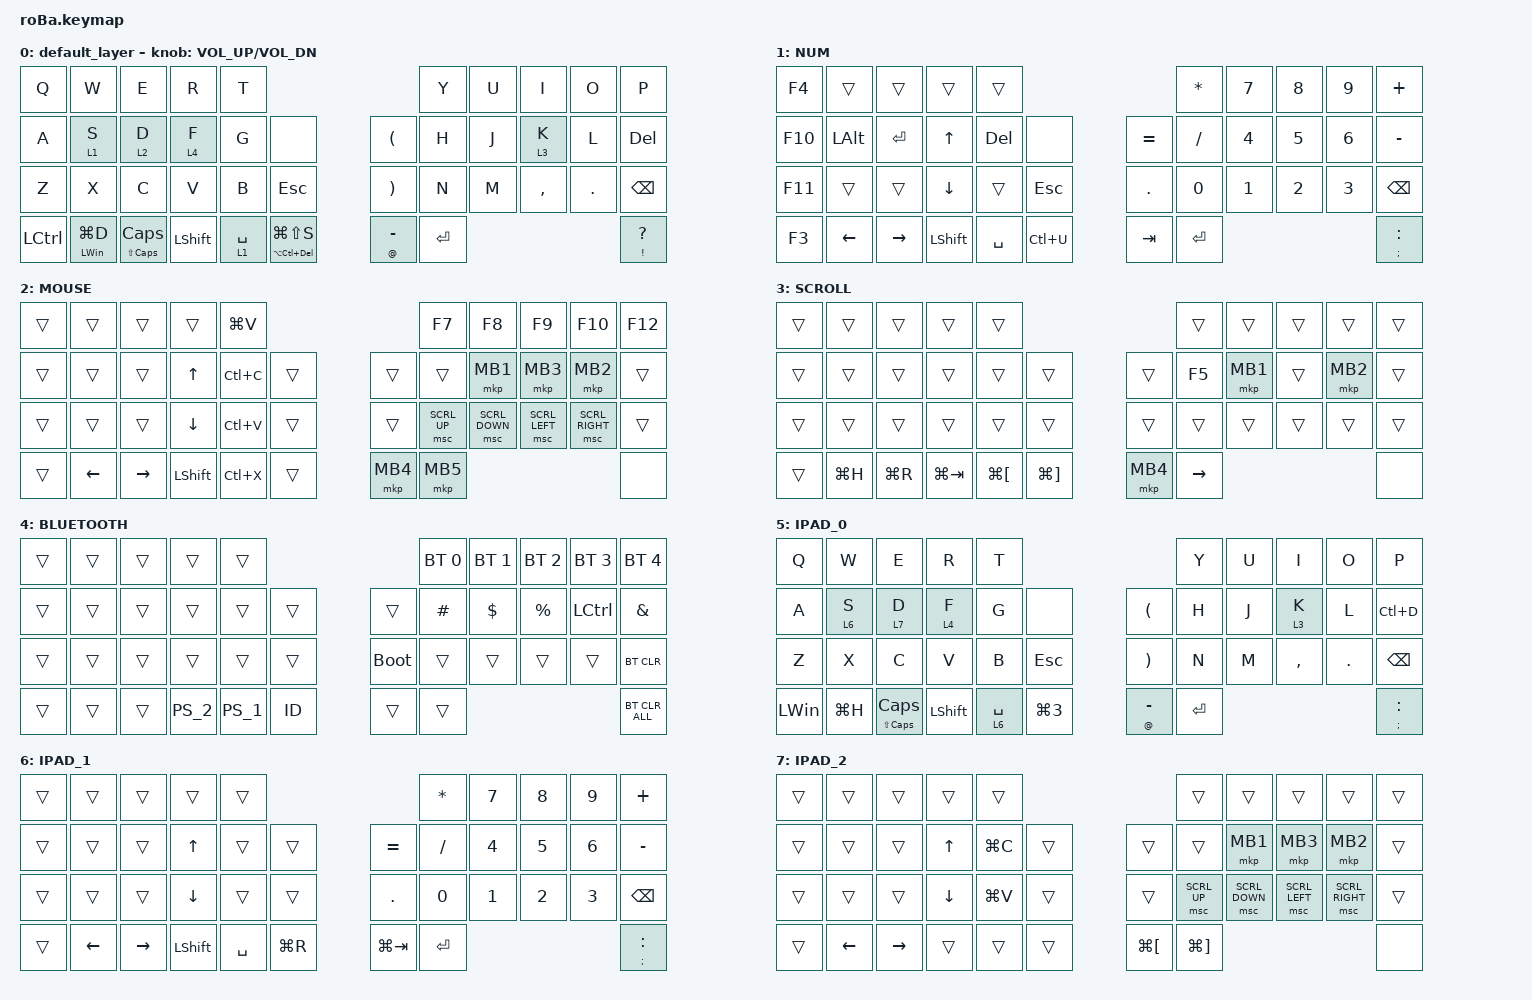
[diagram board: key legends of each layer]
#include <behaviors.dtsi>
#include <dt-bindings/zmk/bt.h>
#include <dt-bindings/zmk/keys.h>
#include <dt-bindings/zmk/pointing.h>

&mt {
    flavor = "balanced";
    quick-tap-ms = <0>;
};

&trackball { scroll-layers = <3>; };

/ {
    combos { compatible = "zmk,combos"; };

    macros {
        BT_IPAD: BT_IPAD {
            compatible = "zmk,behavior-macro";
            #binding-cells = <0>;
            bindings = <&bt BT_SEL 3>, <&macro_wait_time 200>, <&to 5>;
        };

        ID: ID {
            compatible = "zmk,behavior-macro";
            #binding-cells = <0>;
            bindings = <&kp LS(Z) &kp NUMBER_2 &kp NUMBER_6 &kp NUMBER_1 &kp N7 &kp N5 &kp N7>;
            label = "ID";
        };

        PS_1: PASS_1 {
            compatible = "zmk,behavior-macro";
            #binding-cells = <0>;
            bindings = <&kp LS(T) &kp Y &kp N8 &kp N9 &kp NUMBER_2 &kp NUMBER_2 &kp N8 &kp N0>;
            label = "PASS_1";
        };

        PS_2: pass_2 {
            compatible = "zmk,behavior-macro";
            #binding-cells = <0>;
            bindings = <&kp LS(R) &kp D &kp N8 &kp N9 &kp NUMBER_2 &kp NUMBER_2 &kp N8 &kp N0>;
            label = "PASS_2";
        };
    };

    keymap {
        compatible = "zmk,keymap";

        default_layer {
            bindings = <
&kp Q      &kp W               &kp E                      &kp R           &kp T                                                                 &kp Y      &kp U  &kp I      &kp O    &kp P
&kp A      &lt 1 S             &lt 2 D                    &lt 4 F         &kp G        &none                             &kp LEFT_PARENTHESIS   &kp H      &kp J  &lt 3 K    &kp L    &kp DEL
&kp Z      &kp X               &kp C                      &kp V           &kp B        &kp ESC                           &kp RIGHT_PARENTHESIS  &kp N      &kp M  &kp COMMA  &kp DOT  &kp BSPC
&kp LCTRL  &mt LEFT_WIN LG(D)  &mt LS(CAPSLOCK) CAPSLOCK  &kp LEFT_SHIFT  &lt 1 SPACE  &mt LA(LC(DELETE)) LG(LS(S))      &mt AT_SIGN MINUS      &kp ENTER                             &mt EXCLAMATION QUESTION
            >;

            sensor-bindings = <&inc_dec_kp C_VOLUME_UP C_VOL_DN>;
        };

        NUM {
            bindings = <
&kp F4   &trans          &trans     &trans          &trans                                  &kp ASTRK  &kp N7  &kp N8  &kp N9  &kp PLUS
&kp F10  &kp LEFT_ALT    &kp ENTER  &kp UP_ARROW    &kp DELETE  &none           &kp EQUAL   &kp SLASH  &kp N4  &kp N5  &kp N6  &kp MINUS
&kp F11  &trans          &trans     &kp DOWN_ARROW  &trans      &kp ESCAPE      &kp PERIOD  &kp N0     &kp N1  &kp N2  &kp N3  &kp BACKSPACE
&kp F3   &kp LEFT_ARROW  &kp RIGHT  &kp LEFT_SHIFT  &kp SPACE   &kp LC(U)       &kp TAB     &kp ENTER                          &mt SEMICOLON COLON
            >;
        };

        MOUSE {
            bindings = <
&trans  &trans          &trans     &trans          &kp LG(V)                        &kp F7        &kp F8          &kp F9          &kp F10          &kp F12
&trans  &trans          &trans     &kp UP_ARROW    &kp LC(C)  &trans      &trans    &trans        &mkp MB1        &mkp MB3        &mkp MB2         &trans
&trans  &trans          &trans     &kp DOWN_ARROW  &kp LC(V)  &trans      &trans    &msc SCRL_UP  &msc SCRL_DOWN  &msc SCRL_LEFT  &msc SCRL_RIGHT  &trans
&trans  &kp LEFT_ARROW  &kp RIGHT  &kp LEFT_SHIFT  &kp LC(X)  &trans      &mkp MB4  &mkp MB5                                                       &none
            >;
        };

        SCROLL {
            bindings = <
&trans  &trans     &trans     &trans       &trans                                                     &trans     &trans    &trans  &trans    &trans
&trans  &trans     &trans     &trans       &trans                &trans                     &trans    &kp F5     &mkp MB1  &trans  &mkp MB2  &trans
&trans  &trans     &trans     &trans       &trans                &trans                     &trans    &trans     &trans    &trans  &trans    &trans
&trans  &kp LG(H)  &kp LG(R)  &kp LG(TAB)  &kp LG(LEFT_BRACKET)  &kp LG(RIGHT_BRACKET)      &mkp MB4  &kp RIGHT                              &none
            >;
        };

        BLUETOOTH {
            bindings = <
&trans  &trans  &trans  &trans  &trans                           &bt BT_SEL 0  &bt BT_SEL 1  &bt BT_SEL 2  &bt BT_SEL 3  &bt BT_SEL 4
&trans  &trans  &trans  &trans  &trans  &trans      &trans       &kp HASH      &kp DOLLAR    &kp PERCENT   &kp LCTRL     &kp AMPS
&trans  &trans  &trans  &trans  &trans  &trans      &bootloader  &trans        &trans        &trans        &trans        &bt BT_CLR
&trans  &trans  &trans  &PS_2   &PS_1   &ID         &trans       &trans                                                  &bt BT_CLR_ALL
            >;
        };

        IPAD_0 {
            bindings = <
&kp Q         &kp W      &kp E              &kp R           &kp T                                               &kp Y      &kp U  &kp I      &kp O    &kp P
&kp A         &lt 6 S    &lt 7 D            &lt 4 F         &kp G        &none           &kp LEFT_PARENTHESIS   &kp H      &kp J  &lt 3 K    &kp L    &kp LC(D)
&kp Z         &kp X      &kp C              &kp V           &kp B        &kp ESCAPE      &kp RIGHT_PARENTHESIS  &kp N      &kp M  &kp COMMA  &kp DOT  &kp BSPC
&kp LEFT_WIN  &kp LG(H)  &mt LS(CAPS) CAPS  &kp LEFT_SHIFT  &lt 6 SPACE  &kp LG(N3)      &mt AT_SIGN MINUS      &kp ENTER                             &mt SEMI COLON
            >;
        };

        IPAD_1 {
            bindings = <
&trans  &trans          &trans     &trans          &trans                                 &kp ASTRK  &kp N7  &kp N8  &kp N9  &kp PLUS
&trans  &trans          &trans     &kp UP_ARROW    &trans     &trans         &kp EQUAL    &kp FSLH   &kp N4  &kp N5  &kp N6  &kp MINUS
&trans  &trans          &trans     &kp DOWN_ARROW  &trans     &trans         &kp PERIOD   &kp N0     &kp N1  &kp N2  &kp N3  &kp BACKSPACE
&trans  &kp LEFT_ARROW  &kp RIGHT  &kp LEFT_SHIFT  &kp SPACE  &kp LG(R)      &kp LG(TAB)  &kp RET                            &mt SEMI COLON
            >;
        };

        IPAD_2 {
            bindings = <
&trans  &trans          &trans     &trans          &trans                                       &trans                 &trans          &trans          &trans           &trans
&trans  &trans          &trans     &kp UP_ARROW    &kp LG(C)  &trans      &trans                &trans                 &mkp MB1        &mkp MB3        &mkp MB2         &trans
&trans  &trans          &trans     &kp DOWN_ARROW  &kp LG(V)  &trans      &trans                &msc SCRL_UP           &msc SCRL_DOWN  &msc SCRL_LEFT  &msc SCRL_RIGHT  &trans
&trans  &kp LEFT_ARROW  &kp RIGHT  &trans          &trans     &trans      &kp LG(LEFT_BRACKET)  &kp LG(RIGHT_BRACKET)                                                   &none
            >;
        };
    };
};
